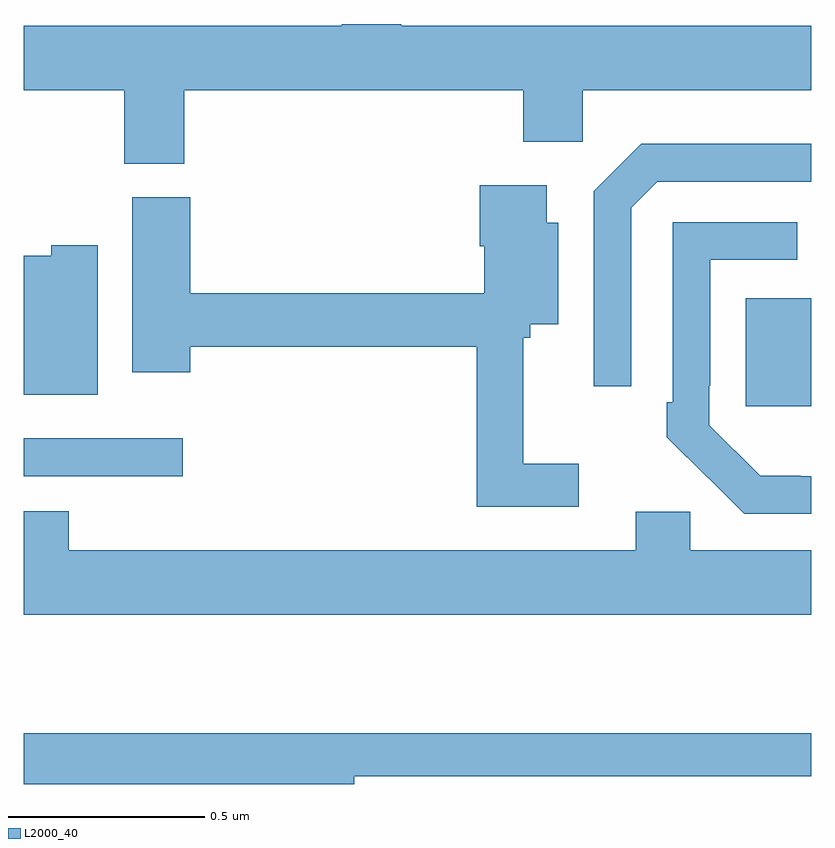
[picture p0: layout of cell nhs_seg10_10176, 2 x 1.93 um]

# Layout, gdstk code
import gdstk
lib = gdstk.Library(unit=1e-6, precision=1e-09)
def R(c, l, rs):  # rectangles x0, y0, x1, y1
    for r in rs: c.add(gdstk.rectangle(r[:2], r[2:], *l))
def P(c, l, *ps):  # polygons
    for p in ps: c.add(gdstk.Polygon(p, *l))
L2000_40 = (2000, 40)

nhs_seg10_10176 = lib.new_cell('nhs_seg10_10176')
R(nhs_seg10_10176, L2000_40, [(239,1283.352,239.404,1283.448), (240.833,1283.529,241,1283.803)])
P(nhs_seg10_10176, L2000_40, [(239.408,1284.332),(240.269,1284.332),(240.269,1284.201),(240.42,1284.201),(240.42,1284.332),(241,1284.332),(241,1284.496),(239.959,1284.496),(239.959,1284.5),(239.807,1284.5),(239.807,1284.496),(239,1284.496),(239,1284.332),(239.255,1284.332),(239.255,1284.145),(239.408,1284.145)],
  [(240.543,1284.033),(240.609,1284.099),(241,1284.099),(241,1284.196),(240.568,1284.196),(240.447,1284.075),(240.447,1283.58),(240.543,1283.58)],
  [(240.409,1283.383),(240.269,1283.383),(240.269,1283.703),(240.286,1283.703),(240.286,1283.738),(240.358,1283.738),(240.358,1283.995),(240.328,1283.995),(240.328,1284.091),(240.158,1284.091),(240.158,1283.936),(240.17,1283.936),(240.17,1283.816),(239.423,1283.816),(239.423,1284.06),(239.276,1284.06),(239.276,1283.616),(239.423,1283.616),(239.423,1283.68),(240.151,1283.68),(240.151,1283.274),(240.409,1283.274)],
  [(241,1283.352),(240.973,1283.352),(240.973,1283.353),(240.87,1283.353),(240.741,1283.481),(240.741,1283.581),(240.744,1283.581),(240.744,1283.901),(240.964,1283.901),(240.964,1283.997),(240.648,1283.997),(240.648,1283.539),(240.633,1283.539),(240.633,1283.451),(240.738,1283.346),(240.739,1283.347),(240.83,1283.256),(241,1283.256)],
  [(239.188,1283.938),(239.07,1283.938),(239.07,1283.911),(239,1283.911),(239,1283.558),(239.188,1283.558)],
  [(241,1283.164),(240.693,1283.164),(240.693,1283.262),(240.554,1283.262),(240.554,1283.164),(239.114,1283.164),(239.114,1283.263),(239,1283.263),(239,1283),(241,1283)],
  [(239.84,1282.59),(241,1282.59),(241,1282.699),(239,1282.699),(239,1282.57),(239.84,1282.57)])

lib.write_gds('nhs_seg10_10176.gds')
